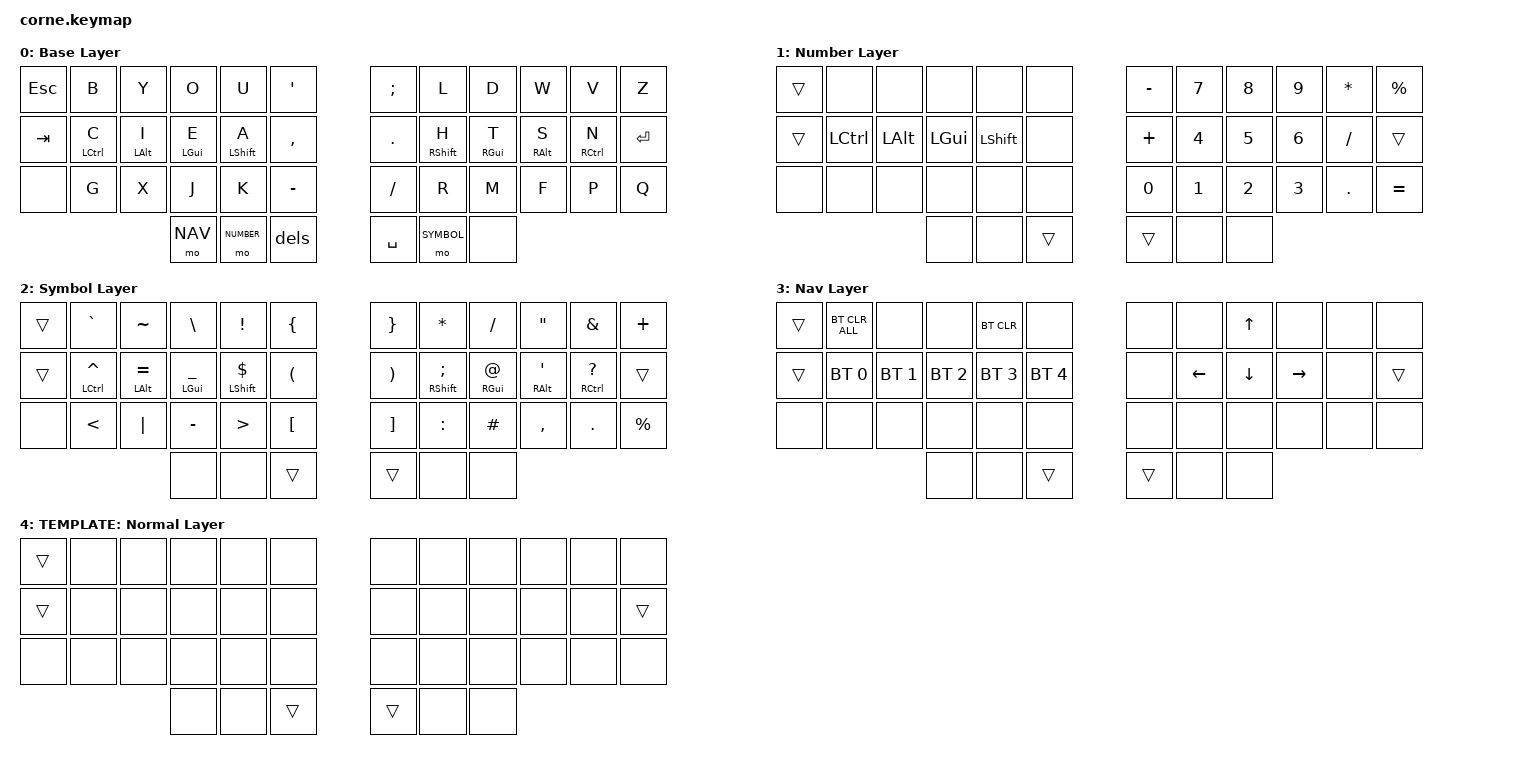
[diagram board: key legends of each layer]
/*
 * My Corne Layout
 */

#include <behaviors.dtsi>
#include <dt-bindings/zmk/bt.h>
#include <dt-bindings/zmk/keys.h>

/** -- Layers -- **/
#define BASE 0
#define NUMBER 1
#define SYMBOL 2
#define NAV 3

/** -- Key Positions for Positional Hold Tap -- **/
#define LEFT_HAND_KEYS  \
     0  1  2  3  4  5   \
    12 13 14 15 16 17   \
    24 25 26 27 28 29

#define RIGHT_HAND_KEYS \
     6  7  8  9 10 11   \
    18 19 20 21 22 23   \
    30 31 32 33 34 35

#define THUMB_KEYS  \
    36 37 38    39 40 41

/** -- Home Row Mods -- **/
#define HRM_HOLDING_TYPE "tap-preferred"
#define HRM_HOLDING_TIME 270
#define HRM_STREAK_DECAY 250
#define HRM_REPEAT_DECAY 300

#define HRM_INDEX_HOLDING_TYPE "tap-preferred"
#define HRM_INDEX_HOLDING_TIME 170
#define HRM_INDEX_STREAK_DECAY 150
#define HRM_INDEX_REPEAT_DECAY 300

/ {
    behaviors {
        /** -- Home Row Mods -- **/
        hrm_l: home_row_mod_left {
            label = "Home Row Mod: Left";
            compatible = "zmk,behavior-hold-tap";
            flavor = HRM_HOLDING_TYPE;
            hold-trigger-key-positions = <RIGHT_HAND_KEYS THUMB_KEYS>;
            hold-trigger-on-release; // Wait for other home row mods
            tapping-term-ms = <HRM_HOLDING_TIME>;
            quick-tap-ms = <HRM_REPEAT_DECAY>;
            require-prior-idle-ms = <HRM_STREAK_DECAY>;
            #binding-cells = <2>;
            bindings = <&kp>, <&kp>;
        };

        hrm_r: home_row_mod_right {
            label = "Home Row Mod: Right";
            compatible = "zmk,behavior-hold-tap";
            flavor = HRM_HOLDING_TYPE;
            hold-trigger-key-positions = <LEFT_HAND_KEYS THUMB_KEYS>;
            hold-trigger-on-release; // Wait for other home row mods
            tapping-term-ms = <HRM_HOLDING_TIME>;
            quick-tap-ms = <HRM_REPEAT_DECAY>;
            require-prior-idle-ms = <HRM_STREAK_DECAY>;
            #binding-cells = <2>;
            bindings = <&kp>, <&kp>;
        };

        hrm_li: home_row_mod_left_index {
            label = "Home Row Mod: Left Index";
            compatible = "zmk,behavior-hold-tap";
            flavor = HRM_INDEX_HOLDING_TYPE;
            hold-trigger-key-positions = <RIGHT_HAND_KEYS THUMB_KEYS>;
            hold-trigger-on-release; // Wait for other home row mods
            tapping-term-ms = <HRM_INDEX_HOLDING_TIME>;
            quick-tap-ms = <HRM_INDEX_REPEAT_DECAY>;
            require-prior-idle-ms = <HRM_INDEX_STREAK_DECAY>;
            #binding-cells = <2>;
            bindings = <&kp>, <&kp>;
        };

        hrm_ri: home_row_mod_right_index {
            label = "Home Row Mod: Right Index";
            compatible = "zmk,behavior-hold-tap";
            flavor = HRM_INDEX_HOLDING_TYPE;
            hold-trigger-key-positions = <LEFT_HAND_KEYS THUMB_KEYS>;
            hold-trigger-on-release; // Wait for other home row mods
            tapping-term-ms = <HRM_INDEX_HOLDING_TIME>;
            quick-tap-ms = <HRM_INDEX_REPEAT_DECAY>;
            require-prior-idle-ms = <HRM_INDEX_STREAK_DECAY>;
            #binding-cells = <2>;
            bindings = <&kp>, <&kp>;
        };

        /* -- Layer Movement -- */
        ld: layer_dance {
            label = "Layer Dance";
            compatible = "zmk,behavior-hold-tap";
            flavor = "hold-preferred";
            tapping-term-ms = <170>;
            quick-tap-ms = <300>;
            require-prior-idle-ms = <150>;
            #binding-cells = <2>;
            bindings = <&mo>, <&to>;
        };

        /* -- Extra Functionality -- */
        dels: delete_directions {
            label = "Two Deletes: Back and Forward";
            compatible = "zmk,behavior-mod-morph";
            #binding-cells = <0>;
            bindings = <&kp BACKSPACE>, <&kp DELETE>;
            mods = <(MOD_LSFT|MOD_RSFT|MOD_LALT|MOD_RALT)>;
        };
    };

    keymap {
        compatible = "zmk,keymap";

        base_layer {
            label = "Base Layer";
            bindings = <
&kp ESC  &kp B                  &kp Y              &kp O              &kp U                 &kp SQT    &kp SEMI   &kp L                  &kp D               &kp W               &kp V                   &kp Z
&kp TAB  &hrm_l LEFT_CONTROL C  &hrm_l LEFT_ALT I  &hrm_l LEFT_GUI E  &hrm_li LEFT_SHIFT A  &kp COMMA  &kp DOT    &hrm_ri RIGHT_SHIFT H  &hrm_r RIGHT_GUI T  &hrm_r RIGHT_ALT S  &hrm_r RIGHT_CONTROL N  &kp RET
&none    &kp G                  &kp X              &kp J              &kp K                 &kp MINUS  &kp FSLH   &kp R                  &kp M               &kp F               &kp P                   &kp Q
                                                   &mo NAV            &mo NUMBER            &dels      &kp SPACE  &mo SYMBOL             &none
            >;
        };

        number_layer {
            label = "Number Layer";
            bindings = <
&trans  &none             &none         &none         &none           &none   &kp MINUS     &kp NUMBER_7       &kp NUMBER_8  &kp NUMBER_9  &kp ASTERISK  &kp PERCENT
&trans  &kp LEFT_CONTROL  &kp LEFT_ALT  &kp LEFT_GUI  &kp LEFT_SHIFT  &none   &kp PLUS      &kp NUMBER_4       &kp NUMBER_5  &kp NUMBER_6  &kp FSLH      &trans
&none   &none             &none         &none         &none           &none   &kp NUMBER_0  &kp NUMBER_1       &kp NUMBER_2  &kp NUMBER_3  &kp DOT       &kp EQUAL
                                        &none         &none           &trans  &trans        &none              &none
            >;
        };

        symbol_layer {
            label = "Symbol Layer";
            bindings = <
&trans  &kp GRAVE                  &kp TILDE              &kp BACKSLASH               &kp EXCLAMATION            &kp LEFT_BRACE        &kp RIGHT_BRACE        &kp ASTERISK                   &kp SLASH                 &kp DOUBLE_QUOTES              &kp AMPERSAND                  &kp PLUS
&trans  &hrm_l LEFT_CONTROL CARET  &hrm_l LEFT_ALT EQUAL  &hrm_l LEFT_GUI UNDERSCORE  &hrm_li LEFT_SHIFT DOLLAR  &kp LEFT_PARENTHESIS  &kp RIGHT_PARENTHESIS  &hrm_ri RIGHT_SHIFT SEMICOLON  &hrm_r RIGHT_GUI AT_SIGN  &hrm_r RIGHT_ALT SINGLE_QUOTE  &hrm_r RIGHT_CONTROL QUESTION  &trans
&none   &kp LESS_THAN              &kp PIPE               &kp MINUS                   &kp GREATER_THAN           &kp LEFT_BRACKET      &kp RIGHT_BRACKET      &kp COLON                      &kp HASH                  &kp COMMA                      &kp PERIOD                     &kp PERCENT
                                                          &none                       &none                      &trans                &trans                 &none                          &none
            >;
        };

        nav_layer {
            label = "Nav Layer";
            bindings = <
&trans  &bt BT_CLR_ALL  &none         &none         &bt BT_CLR         &none         &none   &none              &kp UP_ARROW    &none            &none  &none
&trans  &bt BT_SEL 0    &bt BT_SEL 1  &bt BT_SEL 2  &bt BT_SEL 3       &bt BT_SEL 4  &none   &kp LEFT_ARROW     &kp DOWN_ARROW  &kp RIGHT_ARROW  &none  &trans
&none   &none           &none         &none         &none              &none         &none   &none              &none           &none            &none  &none
                                      &none         &none              &trans        &trans  &none              &none
            >;
        };

        template_layer {
            label = "TEMPLATE: Normal Layer";
            bindings = <
&trans  &none  &none  &none  &none  &none   &none   &none  &none  &none  &none  &none
&trans  &none  &none  &none  &none  &none   &none   &none  &none  &none  &none  &trans
&none   &none  &none  &none  &none  &none   &none   &none  &none  &none  &none  &none
                      &none  &none  &trans  &trans  &none  &none
            >;
        };
    };
};
